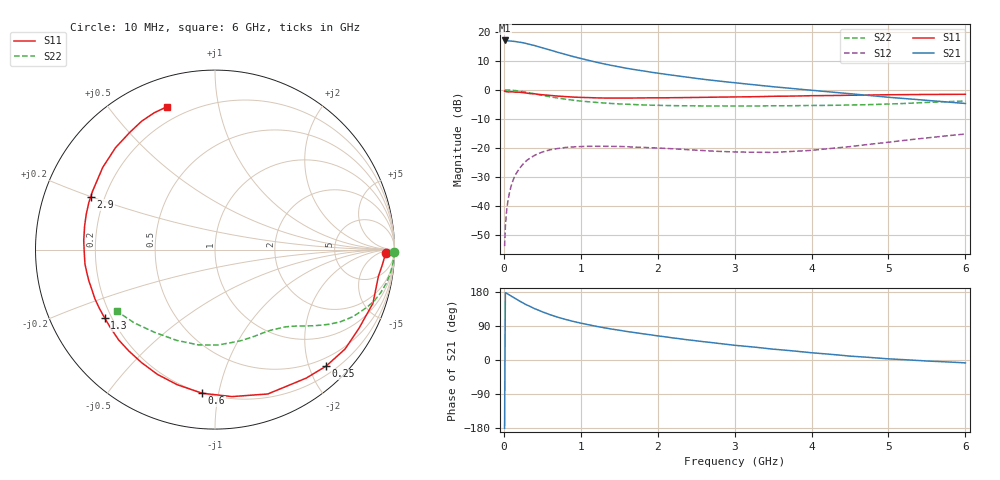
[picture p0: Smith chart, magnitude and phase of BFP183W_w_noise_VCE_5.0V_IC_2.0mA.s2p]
! Infineon Technologies  Discrete & RF Semiconductors
! BFP183W
! VCE =  5.0 V,  IC =  2.0 mA
! Common Emitter S-Parameters:  Jan 2017
# GHz  S  MA  R  50
!  f  S11  S21  S12  S22
! GHz  MAG  ANG  MAG  ANG  MAG  ANG  MAG  ANG
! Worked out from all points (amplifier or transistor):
!   77 points, 10 MHz to 6 GHz, reference 50 ohm
!   highest |S21| = 17.1 dB at 10 MHz (marker M1)
!   |S21| within 3 dB of that: start of sweep to 561.6 MHz
!   unconditionally stable (mu >= 1): 2.807 GHz to 4.762 GHz
!   at 130 MHz: K = 0.05, MSG = 23.7 dB, |S12| = -30.6 dB
!   at 2.2 GHz: K = 0.78, MSG = 12.7 dB, |S12| = -20.3 dB
!   at 6 GHz: K = 0.77, MSG = 5.3 dB, |S12| = -15.2 dB
!   lowest NFmin = 0.76 dB at 450 MHz
!   S11 on the Smith chart (normalised r, x): 10 MHz: 35, -14; 250 MHz: 0.34, -2.29; 600 MHz: 0.20, -0.89; 1.3 GHz: 0.17, -0.28; 2.9 GHz: 0.15, +0.20; 6 GHz: 0.13, +0.71
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0.01  0.9515 -1.1  7.135 -180.0  0.002 88.3  1 -0.8
0.02  0.9365 -5.1  7.132 177.8  0.0043 90.2  0.9944 -1.6
0.03  0.9312 -6.5  7.099 176.6  0.0066 85.7  0.9945 -2.3
0.07  0.9221 -13.1  6.998 171.9  0.016 80.6  0.9914 -5.3
0.15  0.9142 -28.6  6.836 162.2  0.0341 74.1  0.9721 -11.2
0.25  0.8969 -46.4  6.512 150.4  0.0525 64.0  0.9321 -17.8
0.3  0.8781 -54.6  6.28 145.1  0.0609 59.4  0.9065 -20.7
0.4  0.8565 -69.9  5.832 135.5  0.0742 51.6  0.8561 -25.8
0.5  0.8245 -83.4  5.33 127.2  0.0845 44.6  0.8063 -29.9
0.6  0.8034 -95.2  4.885 119.6  0.0924 38.7  0.7613 -33.1
0.7  0.7815 -105.7  4.457 113.0  0.0971 34.0  0.7221 -35.7
0.8  0.7656 -114.8  4.101 107.2  0.1013 30.4  0.6908 -37.9
0.9  0.7509 -123.0  3.768 101.9  0.1035 26.6  0.6631 -39.9
1.1  0.7357 -136.9  3.235 93.1  0.106 21.4  0.6232 -43.1
1.3  0.7232 -148.1  2.815 85.2  0.106 17.0  0.594 -46.2
1.6  0.7214 -162.1  2.354 75.2  0.1045 13.1  0.566 -50.8
2.1  0.7295 179.4  1.863 61.1  0.0976 10.5  0.5374 -59.2
2.9  0.7524 157.0  1.372 41.3  0.0857 14.9  0.5268 -75.2
3.1  0.7573 152.5  1.287 37.0  0.0843 17.9  0.5259 -79.5
4.1  0.795 132.6  0.958 17.5  0.0931 36.1  0.5388 -102.6
5.1  0.8256 118.4  0.727 2.0  0.1293 45.2  0.5756 -128.4
6  0.8397 108.5  0.582 -7.6  0.1729 44.0  0.6443 -147.7
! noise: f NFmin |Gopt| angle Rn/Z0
0.45  0.76  0.48  45  0.22
0.9  0.95  0.41  86  0.19
1.9  1.77  0.52  156  0.09
2.4  2.08  0.55  173  0.09
